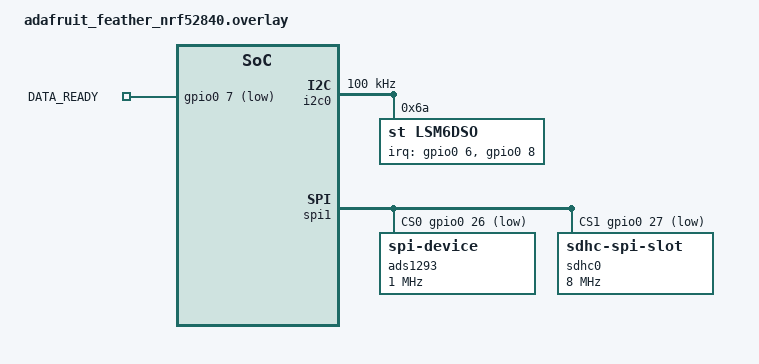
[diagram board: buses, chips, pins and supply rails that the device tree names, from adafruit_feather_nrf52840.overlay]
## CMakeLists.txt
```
#
# Copyright (c) 2018 Nordic Semiconductor
#
# SPDX-License-Identifier: LicenseRef-Nordic-5-Clause
#
cmake_minimum_required(VERSION 3.20.0)


find_package(Zephyr REQUIRED HINTS $ENV{ZEPHYR_BASE})
project(NONE)

target_link_libraries(app PUBLIC libm.a)



# Add your source files
target_sources(app PRIVATE src/main.c src/bluetooth_connection.c src/lsm6dso.c src/connexion_check.c src/sd_card_flash.c src/detect_activity.c src/ADS1293.c src/imu_trigger.c src/Queue.c src/temperatureSens.c src/batteryManagement.c)

# NORDIC SDK APP END
zephyr_library_include_directories(.)

include_directories(${ZEPHYR_BASE}/include/logging)
```

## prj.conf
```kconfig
CONFIG_NCS_SAMPLES_DEFAULTS=y

CONFIG_USE_SEGGER_RTT=y
CONFIG_CONSOLE=y
CONFIG_UART_CONSOLE=n
CONFIG_RTT_CONSOLE=y
CONFIG_LOG=y
CONFIG_LOG_BACKEND_UART=n
CONFIG_NEWLIB_LIBC_FLOAT_PRINTF=y
CONFIG_NEWLIB_LIBC=y

# following config for FATFS module
CONFIG_DISK_ACCESS=y
CONFIG_FILE_SYSTEM=y
CONFIG_FAT_FILESYSTEM_ELM=y


CONFIG_BT=y
CONFIG_BT_PERIPHERAL=y
CONFIG_BT_DEVICE_NAME="Nordic_LBS"

# Enable the LBS service
CONFIG_BT_LBS=y
CONFIG_BT_LBS_POLL_BUTTON=y
CONFIG_DK_LIBRARY=y

CONFIG_SYSTEM_WORKQUEUE_STACK_SIZE=2048
CONFIG_NEWLIB_LIBC=y

CONFIG_SENSOR=y
CONFIG_LSM6DSO=y
#Enable IMU trigger mode
CONFIG_LSM6DSO_TRIGGER_OWN_THREAD=y
#CONFIG_LSM6DSO_TRIGGER_GLOBAL_THREAD=y
CONFIG_GPIO=y

CONFIG_PRINTK=y
CONFIG_MAIN_STACK_SIZE=2048

CONFIG_DISK_DRIVER_SDMMC=y
CONFIG_SPI=y
CONFIG_SDMMC_SUBSYS=y

CONFIG_LOG=y
CONFIG_LOG_DEFAULT_LEVEL=3
CONFIG_ASSERT=y


CONFIG_PWM=y
CONFIG_LED=y
CONFIG_ADC=y
```

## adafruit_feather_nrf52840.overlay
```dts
// To get started, press Ctrl+Space to bring up the completion menu and view the available nodes.

// You can also use the buttons in the sidebar to perform actions on nodes.
// Actions currently available include:

// * Enabling / disabling the node
// * Adding the bus to a bus
// * Removing the node
// * Connecting ADC channels

// For more help, browse the DeviceTree documentation at https://docs.zephyrproject.org/latest/guides/dts/index.html
// You can also visit the nRF DeviceTree extension documentation at https://nrfconnect.github.io/vscode-nrf-connect/devicetree/nrfdevicetree.html


/{
    aliases {
        drdy = &data_ready;

    };
    gpio_keys {
        compatible = "gpio-keys";
        status = "okay";

        data_ready: data_ready {
            gpios = <&gpio0 7 GPIO_ACTIVE_LOW>;
            label = "DATA_READY";
        };

    };
};



&i2c0 {
    status = "okay";
    clock-frequency = <I2C_BITRATE_STANDARD>; // or I2C_BITRATE_FAST

    lsm6dso@6a {
        compatible = "st,lsm6dso";
        reg = <0x6a>;
        label = "LSM6DSO";
        irq-gpios = <&gpio0 6 GPIO_ACTIVE_HIGH>, <&gpio0 8 GPIO_ACTIVE_HIGH>;
    };
};

&spi1 {
    compatible = "nordic,nrf-spim";
    status = "okay";
    cs-gpios = <&gpio0 26 GPIO_ACTIVE_LOW>, <&gpio0 27 GPIO_ACTIVE_LOW>;
    ads1293@0 {
        compatible = "spi-device";
        reg = <0>;
        label = "ads1293";
        status = "okay";
        spi-max-frequency = <1000000>;
    };
    sdhc0: sdhc@1 {
        compatible = "zephyr,sdhc-spi-slot";
        reg = <1>;
        status = "okay";
        mmc {
            compatible = "zephyr,sdmmc-disk";
            status = "okay";
        };
        spi-max-frequency = <8000000>;
    };

};
  
&spi0 {
    status = "disabled";
};
```

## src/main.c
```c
/*
 * Research project 2023/2024
 */

/**************************************ZEPHYR LIB INCLUDES***********************************************/
#include <zephyr/types.h>
#include <stddef.h>
#include <string.h>
#include <errno.h>
#include <zephyr/sys/printk.h>
#include <zephyr/sys/byteorder.h>
#include <zephyr/kernel.h>
#include <zephyr/drivers/gpio.h>
#include <soc.h>
#include <zephyr/bluetooth/bluetooth.h>
#include <zephyr/bluetooth/hci.h>
#include <zephyr/bluetooth/conn.h>
#include <zephyr/bluetooth/uuid.h>
#include <zephyr/bluetooth/gatt.h>
#include <zephyr/drivers/sensor.h>
#include <math.h>
#include <stdio.h>
#include <stdbool.h>
#include <time.h>
#include <zephyr/kernel.h>
#include <zephyr/device.h>
#include <bluetooth/services/lbs.h>
#include <zephyr/settings/settings.h>
#include <dk_buttons_and_leds.h>
#include <zephyr/logging/log.h>
#include <zephyr/drivers/spi.h>  // provides access to SPI driver features
#include <zephyr/drivers/gpio.h>  // provides access to GPIO driver features
#include <hal/nrf_gpio.h>

/************************************** HEADER FILES INCLUDES ***********************************************/
#include "bluetooth_connection.h"
#include"lsm6dso.h"
#include"connexion_check.h"
#include "sd_card_flash.h"
#include"detect_activity.h"
#include"ADS1293.h"
#include"imu_trigger.h"
#include"Queue.h"
#include"temperatureSens.h"
#include "batteryManagement.h"

/************************************** THREADS SEMAPHORES ***********************************/
//Define sd-card semaphore
K_SEM_DEFINE(sd_card_sem, 1, 1); 
//Define semaphore for imu thread
K_SEM_DEFINE(imu_sem, 0, 1); 
//Define semaphore for ecg thread
K_SEM_DEFINE(ecg_sem, 0, 1); 
//Define semaphore for temperature thread
K_SEM_DEFINE(temp_sem, 0, 1); 

/************************************** DEFINE THREADS ****************************************/
K_THREAD_STACK_DEFINE(ecg_thread_stack_area, 2048);
K_THREAD_STACK_DEFINE(imu_thread_stack_area, 2048);
K_THREAD_STACK_DEFINE(temp_thread_stack_area, 2048);
struct k_thread ecg_thread_data;
struct k_thread imu_thread_data;
struct k_thread temp_thread_data;
K_MUTEX_DEFINE(sensor_data_mutex);
K_MUTEX_DEFINE(queue_data_mutex);

/************************************** GLOBALE VARIABLE  *************************************/
typedef struct {
    uint16_t channel_1_ecgVal;
    uint16_t channel_2_ecgVal;
} Ecg_values_norm;
//4232264
uint32_t offset_ecg = 4238892;
uint32_t last_interrupt_time = 0;
uint64_t last_imu_read_time = 0;
uint32_t imu_activity_buffer [4];
uint16_t temp_posture_buffer [2];
uint32_t raw_ecg_buffer[8];
uint16_t ecg_buffer[8];
Queue* imu_activity_queue = NULL; 
uint32_t body_posture;
float body_temperature;
uint32_t bodyTemp_toBe_send;
bool temperature_flag = false;
volatile bool ecg_data_sent = false;
K_MUTEX_DEFINE(ble_data_mutex);
LOG_MODULE_REGISTER(main);

// power saving for battery temp
#define POWER NRF_GPIO_PIN_MAP(0,28)
/************************************** STATIC VARIABLES **************************************/
static int lsdir(const char *path);
static FATFS fat_fs;
static int file_count = 0;
struct fs_file_t ecg_file;
struct fs_file_t imu_file;

/************************************** SD CARD MOUNTING ***************************************/
/* mounting info */
static struct fs_mount_t mp = {
	.type = FS_FATFS,
	.fs_data = &fat_fs,
};
static const char *disk_mount_pt = "/SD:";

/************************************** IMU SAMPLING FREQUENCY *********************************/
static int set_sampling_freq(const struct device *dev)
{
	int ret_gpio = 0;
	struct sensor_value odr_attr;

	/* set accel sampling frequency to 208 Hz */
	odr_attr.val1 = 208;
	odr_attr.val2 = 0;

	ret_gpio = sensor_attr_set(dev, SENSOR_CHAN_ACCEL_XYZ,
			SENSOR_ATTR_SAMPLING_FREQUENCY, &odr_attr);
	if (ret_gpio != 0) {
		printf("Cannot set sampling frequency for accelerometer.\n");
		return ret_gpio;
	}

	ret_gpio = sensor_attr_set(dev, SENSOR_CHAN_GYRO_XYZ,
			SENSOR_ATTR_SAMPLING_FREQUENCY, &odr_attr);
	if (ret_gpio != 0) {
		printf("Cannot set sampling frequency for gyro.\n");
		return ret_gpio;
	}

	return 0;
}

/************************************** SD CARD LISTDIR ************************************************/
// SD
static int lsdir(const char *path)
{
    int res;
    struct fs_dir_t dirp;
    static struct fs_dirent entry;
    int count = 0;

    fs_dir_t_init(&dirp);

    res = fs_opendir(&dirp, path);
    if (res) {
        printk("Error opening dir %s [%d]\n", path, res);
        return res;
    }

    printk("\nListing dir %s ...\n", path);
    while (1) {
        res = fs_readdir(&dirp, &entry);
        if (res || entry.name[0] == 0) {
            break;
        }

        if (entry.type != FS_DIR_ENTRY_DIR) {
            count++;
            if (count % 2 == 0) {
                file_count++;
            }
        }

        if (entry.type == FS_DIR_ENTRY_DIR) {
            printk("[DIR ] %s\n", entry.name);
        } else {
            printk("[FILE] %s (size = %zu)\n",
                entry.name, entry.size);
        }
    }

    fs_closedir(&dirp);

    return res;
}

/************************************** CALCULATE FREQUENCY  ************************************************/
double calculate_freq(uint32_t current_time)
{
	uint32_t interrupt_period;
	double frequency_hz;

	if (last_interrupt_time != 0) {
		if (current_time >= last_interrupt_time) {
			interrupt_period = current_time - last_interrupt_time;
		} else {
			// handle overflow
			interrupt_period = UINT32_MAX - last_interrupt_time + current_time;
		}

		// Convert to nanoseconds
		uint64_t interrupt_period_ns = k_cyc_to_ns_ceil64(interrupt_period);

		// Calculate frequency (Hz) = 1 / period (s)
		// The period is in nanoseconds, so we need to divide by 1e9 to convert to seconds
		double period_s = (double)interrupt_period_ns / 1e9;

		// Calculate frequency
		frequency_hz = 1.0 / period_s;

		//printf("Interrupt frequency: %.2f Hz\n", frequency_hz);
	}

	last_interrupt_time = current_time;
	return frequency_hz;

}

/************************************** ECG THREAD ************************************************/
void ecg_data_acquisition_thread(void *unused1, void *unused2, void *unused3) {
	int ecg_buffer_ind = 0;
	
    while (1) {
		
		Ecg_values_norm ecg_values_norm;
		// wait for semaphore
		k_sem_take(&ecg_sem, K_FOREVER); // the semaphore count goes down to 0

		ECG_Values ecg_values = read_ecg_values();

		ecg_values_norm.channel_1_ecgVal = ecg_values.channel_1_ecgVal - offset_ecg;
		ecg_values_norm.channel_2_ecgVal = ecg_values.channel_2_ecgVal - offset_ecg;
		///printf(", Values norm: %u, %u\n", ecg_values_norm.channel_1_ecgVal , ecg_values_norm.channel_2_ecgVal);

		//calculate frequency
		uint32_t current_time = k_cycle_get_32();
		double frequency_hz = calculate_freq(current_time);

		//fill buffer with norm. values and raw values
		ecg_buffer[ecg_buffer_ind] = ecg_values_norm.channel_1_ecgVal;
		raw_ecg_buffer[ecg_buffer_ind] = ecg_values.channel_1_ecgVal;
		ecg_buffer_ind++;
		ecg_buffer[ecg_buffer_ind] = ecg_values_norm.channel_2_ecgVal;
		raw_ecg_buffer[ecg_buffer_ind] = ecg_values.channel_2_ecgVal;
		ecg_buffer_ind = (ecg_buffer_ind+1)%8;

		// wake up IMU thread to synchronize READ DATA 
		k_sem_give(&imu_sem);

		if ( ecg_buffer_ind == 0){
			
			//BLE send ECG packet, is blocked to avoid BLE conflicts, could also work with threads flags
			k_mutex_lock(&ble_data_mutex, K_FOREVER);
		    send_ECG_Packet_Data(ecg_buffer, sizeof(ecg_buffer));
			k_mutex_unlock(&ble_data_mutex);

			//flash data to sd card
			k_sem_take(&sd_card_sem, K_FOREVER); // Take the semaphore

			flash_ecg_data_to_sd_card(&ecg_file, raw_ecg_buffer);
			k_sem_give(&sd_card_sem); // Give the semaphore
			
			// Clear the buffer
            for (int i = 0; i < 8; i++) {
                ecg_buffer[i] = 0;
            }

		}
    }
}

/************************************** IMU THREAD ************************************************/

void imu_data_acquisition_thread(void *unused1, void *unused2, void *unused3) {

	int imu_activity_buffer_ind = 0;
	uint32_t last_fetch_time = 0;
	uint32_t current_t;
    while (1) {
		
		/* Wait until semaphore is called */
        k_sem_take(&imu_sem, K_FOREVER); // the semaphore count goes down to 0
		
		//calculate the mean value of the values saved on the queue, and then dequeue the queue to liberate space

		uint32_t mean_imu_val = calculateMean(imu_activity_queue);

		imu_activity_buffer[imu_activity_buffer_ind] = mean_imu_val;
		imu_activity_buffer_ind = (imu_activity_buffer_ind+1)%4;
		
		//dequeue the queue
		k_mutex_lock(&queue_data_mutex, K_FOREVER);
		emptyQueue(imu_activity_queue);
		k_mutex_unlock(&queue_data_mutex);

		if (imu_activity_buffer_ind == 0){
		current_t= k_uptime_get();
		//read temperature value
		bodyTemp_toBe_send = body_temperature *(100); //covert float to uint32_t
			
		//fill temp_posture_buffer
		temp_posture_buffer[0] = bodyTemp_toBe_send;
		temp_posture_buffer[1] = body_posture;

		printf("Temperature = %u \n",temp_posture_buffer[0] );
		
		k_mutex_lock(&ble_data_mutex, K_FOREVER);
		send_temp_IMU_Packet_Data(imu_activity_buffer, sizeof(imu_activity_buffer));
		k_mutex_unlock(&ble_data_mutex);

		//BLE send Temperature and body-posture packet
		
		if (current_t - last_fetch_time >= 3500) //3500 is adjustable, to avoid sending 3 packet simultaneously 
		{
		k_sem_give(&temp_sem); //give semaphore to read temperature values
		send_temperatur_body_posture_Packet(temp_posture_buffer, sizeof(temp_posture_buffer));
		last_fetch_time = current_t;
     	}
	
		//write to sd card

		k_sem_take(&sd_card_sem, K_FOREVER); // Take the semaphore to write to sd card
		k_mutex_lock(&sensor_data_mutex, K_FOREVER);
		flash_imu_data_to_sd_card(&imu_file, imu_activity_buffer);
		k_mutex_unlock(&sensor_data_mutex);
		k_sem_give(&sd_card_sem); 

		// Clear the buffer
		for (int i = 0; i < 4; i++) { 
			imu_activity_buffer[i] = 0;
		}
		}
    }
}

/************************************** TEMP THREAD ************************************************/
void temp_data_acquisition_thread()
{
	while(1)
	{
		k_sem_take(&temp_sem, K_FOREVER); // the semaphore count goes down to 0
		body_temperature = get_bodyTemperature();
		nrf_gpio_pin_set(POWER);
		get_battery_info();
		nrf_gpio_pin_clear(POWER);
	}

}

/************************************** DETECT SD CARD ************************************************/
void mount_sd_card()
{
	/* sd card detected? */
	do {
		static const char *disk_pdrv = "SD";
		uint64_t memory_size_mb;
		uint32_t block_count;
		uint32_t block_size;

		if (disk_access_init(disk_pdrv) != 0) {
			LOG_ERR("Storage init ERROR!");
			break;
		}

		if (disk_access_ioctl(disk_pdrv,
				DISK_IOCTL_GET_SECTOR_COUNT, &block_count)) {
			LOG_ERR("Unable to get sector count");
			break;
		}
		LOG_INF("Block count %u", block_count);

		if (disk_access_ioctl(disk_pdrv,
				DISK_IOCTL_GET_SECTOR_SIZE, &block_size)) {
			LOG_ERR("Unable to get sector size");
			break;
		}
		printk("Sector size %u\n", block_size);

		memory_size_mb = (uint64_t)block_count * block_size;
		printk("Memory Size(MB) %u\n", (uint32_t)(memory_size_mb >> 20));
	} while (0);

	mp.mnt_point = disk_mount_pt;
	int res = fs_mount(&mp);

	if (res == FR_OK) {
		printk("Disk mounted.\n");
		lsdir(disk_mount_pt);
	} else {
		printk("Error mounting disk.\n");
	}
}

/************************************** CREAT IMU/ECG/Temp THREADS ************************************************/
void start_ecg_data_acquisition_thread(void) {
    k_thread_create(&ecg_thread_data, ecg_thread_stack_area, K_THREAD_STACK_SIZEOF(ecg_thread_stack_area), 
                    ecg_data_acquisition_thread, NULL, NULL, NULL, 1, 0, K_NO_WAIT);
}

void start_imu_data_acquisition_thread(void) {
    k_thread_create(&imu_thread_data, imu_thread_stack_area, K_THREAD_STACK_SIZEOF(imu_thread_stack_area), 
                    imu_data_acquisition_thread, NULL, NULL, NULL, 2, 0, K_NO_WAIT);
}

void start_temperature_data_acquisition_thread(void) {
    k_thread_create(&temp_thread_data, temp_thread_stack_area, K_THREAD_STACK_SIZEOF(temp_thread_stack_area), 
                    temp_data_acquisition_thread, NULL, NULL, NULL, 3, 0, K_NO_WAIT);
}

/************************************** IMU TRIGGER/POOLING MODE  ************************************************/

#ifdef CONFIG_LSM6DSO_TRIGGER
static void trigger_handler(const struct device *dev,
			    const struct sensor_trigger *trig)
{
	uint32_t mag_acc_val;
	MagAccData output_imu_sensor = fetch_and_display_IMU_val(dev);
	mag_acc_val = output_imu_sensor.mag_accelerometer;
	body_posture = output_imu_sensor.body_posture;
	k_mutex_lock(&queue_data_mutex, K_FOREVER);
    enQueue(imu_activity_queue, mag_acc_val);
	k_mutex_unlock(&queue_data_mutex);
	
}

static void test_trigger_mode(const struct device *dev)
{
	struct sensor_trigger trig;

	if (set_sampling_freq(dev) != 0)
		return;

	trig.type = SENSOR_TRIG_DATA_READY;
	trig.chan = SENSOR_CHAN_ACCEL_XYZ;

	if (sensor_trigger_set(dev, &trig, trigger_handler) != 0) {
		printf("Could not set sensor type and channel\n");
		return;
	}
}

#else
static void test_polling_mode(const struct device *dev)
{
	if (set_sampling_freq(dev) != 0) {
		return;
	}

	while (1) {
		fetch_and_display_IMU_val(dev);
		k_sleep(K_MSEC(1000));
	}
}
#endif

/************************************** IMU POOLING MODE  ************************************************/
//POOLING MODE
static void test_polling_mode(const struct device *dev)
{

	if (!device_is_ready(dev)) {
		printf("%s: device not ready.\n", dev->name);
		return;
	}
	printf("Testing LSM6DSO sensor in polling mode.\n\n");

	if (set_sampling_freq(dev) != 0) {
		return;
	}

	while (1) {
	
	uint32_t mag_acc_val;
	MagAccData output_imu_sensor = fetch_and_display_IMU_val(dev);
	mag_acc_val = output_imu_sensor.mag_accelerometer;
	k_mutex_lock(&queue_data_mutex, K_FOREVER);
    enQueue(imu_activity_queue, mag_acc_val);
	k_mutex_unlock(&queue_data_mutex);

	}
}

/************************************** ADS1293 INTERRUPT CALLBACK **********************************/
void ecg_data_callback(const struct device *dev, struct gpio_callback *cb, uint32_t pins)
{
    ads1293_interrupt = true;
	
	k_sem_give(&ecg_sem); 
}

void main(void)

{	/************************************** LOCAL VARIABLES ******************************************/
	int count_temp_sens = 0;
	/************************************** INITIALIZE IMU SENSOR  **********************************/
	//Initialize IMU sensor
	const struct device *const dev = DEVICE_DT_GET_ONE(st_lsm6dso);
	if (!device_is_ready(dev)) {
		printf("%s: device not ready.\n", dev->name);
		return;
	}
	printf("Testing LSM6DSO sensor in polling mode.\n\n");

	if (set_sampling_freq(dev) != 0) {
		return;
	}
	test_trigger_mode(dev);

	/************************************** INITIALIZE Temperatur SENSOR  ****************************/
	temp_sens_initialization();
	/************************************** SPI INIT ************************************************/
	//check SPI connexion
	ads1293_SPI_init();

	/************************************** GPIO INIT ************************************************/
	//Initialize GPIO Interrupt pin for ecg data
	GPIOinterrupt_init();

	/************************************** Battery Management Setup ******************************************/
	// setup battery management
	battery_management_initialization();
	nrf_gpio_cfg_output(POWER);

	/************************************** SD CARD MOUNTING ******************************************/
	//SD Card mounting
	mount_sd_card();

	/************************************** OPENNING IMU/ECG.CSV FILES **********************************/
	//Opening ECG file
	char *ecg_file_name = generate_file_name(file_count, "ECG");
	int ret_file_ecg;
	ret_file_ecg = fs_open(&ecg_file, ecg_file_name, FS_O_WRITE | FS_O_CREATE | FS_O_APPEND);
	if (ret_file_ecg < 0) {
		printk("Error opening ecg_file: %d\n", ret_file_ecg);
		return;
	}
	printk("succeess to open ecg_file %s\n",ecg_file_name );

	//Opening IMU file
	char *imu_file_name = generate_file_name(file_count, "IMU");
	int ret_file;
	ret_file = fs_open(&imu_file, imu_file_name, FS_O_WRITE | FS_O_CREATE | FS_O_APPEND);
	if (ret_file < 0) {
		printk("Error opening imu_file: %d\n", ret_file);
		return;
	}
	printk("succeess to open imu_file %s\n",imu_file_name );

	/************************************** CREATE IMU QUEUE ************************************************/
	imu_activity_queue = createQueue();

	/************************************** START IMU THREAD************************************************/
	//start imu thread
	start_imu_data_acquisition_thread();

	/************************************** START ECG THREAD ************************************************/
	//Start ecg thread
	start_ecg_data_acquisition_thread();

	/************************************** START TEMPERATURE THREAD ************************************************/
	//Start tempearture thread
	start_temperature_data_acquisition_thread();

	/************************************** BLUETOOTH INIT ************************************************/
	//Bluetooth connection
	Bluetooth_init();

}
```

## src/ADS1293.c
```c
#include"ADS1293.h"

//define 3 channels
uint32_t chan1_1 = 0;
uint32_t chan1_2 = 0;
uint32_t chan1_3 = 0;
uint32_t chan2_1 = 0;
uint32_t chan2_2 = 0;
uint32_t chan2_3 = 0;
//define registers
uint8_t reg21;
uint8_t reg22;
uint8_t reg23;

const struct gpio_dt_spec cs_gpio = GPIO_DT_SPEC_GET_OR(SPI1_NODE, cs_gpios, {0});
static const struct device *spi_dev = DEVICE_DT_GET(SPI1_NODE);
static const struct gpio_dt_spec drdy_gpio = GPIO_DT_SPEC_GET(DATA_READY_NODE, gpios);

struct spi_cs_control spi_cs = {
    .gpio = cs_gpio,
    .delay = 2,
};

static const struct spi_config spi_cfg = {
    .frequency = SPI_FREQ,
    .operation = SPI_WORD_SET(SPI_WORD_SIZE) | SPI_OP_MODE_MASTER,
    .slave = SPI_SLAVE,
    .cs = &spi_cs,
};


int ads1293_spi_transfer(const struct device *spi_dev, uint8_t addr, bool is_read, uint8_t data)
{
    uint8_t tx_buf[2] = { (uint8_t)((is_read ? 0x80 : 0x00) | (addr & 0x7F)), data };
    uint8_t rx_buf[2] = { 0 };

    const struct spi_buf tx_bufs[] = {
        {
            .buf = tx_buf,
            .len = sizeof(tx_buf),
        },
    };

    const struct spi_buf rx_bufs[] = {
        {
            .buf = rx_buf,
            .len = sizeof(rx_buf),
        },
    };

    const struct spi_buf_set tx = {
        .buffers = tx_bufs,
        .count = ARRAY_SIZE(tx_bufs),
    };

    const struct spi_buf_set rx = {
        .buffers = rx_bufs,
        .count = ARRAY_SIZE(rx_bufs),
    };

    int err = spi_transceive(spi_dev, &spi_cfg, &tx, &rx);
    if (err != 0) {
        return err;
    }

    return rx_buf[1];
}

int ads1293_write_register(const struct device *spi_dev, uint8_t addr, uint8_t data)
{
    return ads1293_spi_transfer(spi_dev, addr, false, data);
}

int ads1293_read_register(const struct device *spi_dev, uint8_t addr)
{
    return ads1293_spi_transfer(spi_dev, addr, true, 0x00);
}
int ads1293_init(struct device *spi_dev) {
    // Initialize ADS1293 with the provided register settings
    ads1293_write_register(spi_dev, 0x00, 0x00);// stop any conversion.
    ads1293_write_register(spi_dev, 0x01, 0x11);//Connect channel 1’s INP to IN2 and INN to IN1.
    ads1293_write_register(spi_dev, 0x02, 0x19);//Connect channel 2’s INP to IN3 and INN to IN1.
    ads1293_write_register(spi_dev, 0x0A, 0x07);//Enable the common-mode detector on input pins IN1, IN2 and IN3.
    ads1293_write_register(spi_dev, 0x0C, 0x04);// Connect the output of the RLD amplifier internally to pin IN4.
    ads1293_write_register(spi_dev, 0x12, 0x04);// Use external crystal and feed the internal oscillator's output to the digital.
    ads1293_write_register(spi_dev, 0x14, 0x24);// Shuts down unused channel 3’s signal path
    ads1293_write_register(spi_dev, 0x21, 0x08);// Configures the R2 decimation rate as 5 for all channels
    ads1293_write_register(spi_dev, 0x22, 0x20);//Configures the R3 decimation rate as 6 for channel 1.
    ads1293_write_register(spi_dev, 0x23, 0x20);// Configures the R3 decimation rate as 6 for channel 2
    ads1293_write_register(spi_dev, 0x27, 0x08);//Configures the DRDYB source to channel 1 ECG (or fastest channel)
    ads1293_write_register(spi_dev, 0x2F, 0x30);// Enables channel 1 ECG and channel 2 ECG for loop read-back mode
    ads1293_write_register(spi_dev, 0x00, 0x01);// Starts data conversion.
    return 0;
}

void get_register_val(struct device *spi_dev)
{
    // Read back from registers
    reg21 = ads1293_read_register(spi_dev, 0x21);
    reg22 = ads1293_read_register(spi_dev, 0x22);
    reg23 = ads1293_read_register(spi_dev, 0x23);
}



void ads1293_SPI_init(void){
    int ret;

    // Get the SPI device instance
    static struct device *spi_dev = DEVICE_DT_GET(SPI1_NODE);
    
    if (!spi_dev) {
        printk("Failed to get SPI device\n");
        return ;
    }

    // Initialize the ADS1293
    ret = ads1293_init(spi_dev);
    if (ret) {
        printk("Failed to initialize ADS1293\n");
        return;
    } else {
        printk("ADS1293 initialized successfully\n");
        return;
    }
}

ECG_Values read_ecg_values(void) {
    ECG_Values ecg_values;

    chan1_1 = ads1293_read_register(spi_dev, 0x37);
    chan1_2 = ads1293_read_register(spi_dev, 0x38);
    chan1_3 = ads1293_read_register(spi_dev, 0x39);
    ecg_values.channel_1_ecgVal = chan1_1;
    ecg_values.channel_1_ecgVal = (ecg_values.channel_1_ecgVal << 8) | chan1_2;
    ecg_values.channel_1_ecgVal = (ecg_values.channel_1_ecgVal << 8) | chan1_3;

    chan2_1 = ads1293_read_register(spi_dev, 0x3A);
    chan2_2 = ads1293_read_register(spi_dev, 0x3B);
    chan2_3 = ads1293_read_register(spi_dev, 0x3C);
    ecg_values.channel_2_ecgVal = chan2_1;
    ecg_values.channel_2_ecgVal = (ecg_values.channel_2_ecgVal << 8) | chan2_2;
    ecg_values.channel_2_ecgVal = (ecg_values.channel_2_ecgVal << 8) | chan2_3;


    k_sleep(K_MSEC(2));

    return ecg_values;
}


void GPIOinterrupt_init(void)
{

    const struct device *data_ready_dev;
     // Use data_ready.port directly
    data_ready_dev = drdy_gpio.port;
    static struct gpio_callback gpio_cb;

	// Initialize GPIO device and configure for interrupts
    if (!data_ready_dev) {
        printk("GPIO device not ready\n");
        return;
    }
	printk("GPIO device found\n");

	 // Configure reset button pin as input with interrupt on rising edge
    int ret = gpio_pin_configure(data_ready_dev, drdy_gpio.pin, drdy_gpio.dt_flags | GPIO_INPUT);
    if (ret) {
        printk("Failed to configure reset button pin\n");
        return;
    }
	printk("GPIO device configured \n");

	ret = gpio_pin_interrupt_configure(data_ready_dev, drdy_gpio.pin, GPIO_INT_EDGE_TO_ACTIVE);
    if (ret) {
        printk("Failed to configure data_ready interrupt\n");
        return;
    }
    printk("data_ready interrupt configured\n");

	gpio_init_callback(&gpio_cb, ecg_data_callback, BIT(drdy_gpio.pin));
	printk("INIT CALLBACK\n");
	
	ret = gpio_add_callback(data_ready_dev, &gpio_cb);
    if (ret) {
        printk("Failed to add callback\n");
    }
    printk("Callback added \n");
}
```

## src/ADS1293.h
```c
#include <zephyr/kernel.h>
#include <zephyr/drivers/spi.h>
#include <zephyr/drivers/gpio.h>        
#include <stdio.h>     

#define SPI1_NODE                   DT_NODELABEL(spi1)
#define DATA_READY_NODE 	        DT_NODELABEL(data_ready)  // Data ready node

#define SPI_FREQ 1000000
#define SPI_SLAVE 0
#define SPI_WORD_SIZE 8
static volatile bool ads1293_interrupt = false;

typedef struct {
    uint32_t channel_1_ecgVal;
    uint32_t channel_2_ecgVal;
} ECG_Values;

int ads1293_spi_transfer(const struct device *spi_dev, uint8_t addr, bool is_read, uint8_t data);
int ads1293_write_register(const struct device *spi_dev, uint8_t addr, uint8_t data);
int ads1293_read_register(const struct device *spi_dev, uint8_t addr);
int ads1293_init(struct device *spi_dev);
void ads1293_SPI_init(void);
void GPIOinterrupt_init(void);
void ecg_data_callback(const struct device *dev, struct gpio_callback *cb, uint32_t pins);
void get_register_val(struct device *spi_dev);
ECG_Values read_ecg_values(void);
```

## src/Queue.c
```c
#include <stdlib.h>
#include "Queue.h"


Queue* createQueue() {
    Queue* q = (Queue*)malloc(sizeof(Queue));
    q->front = q->rear = NULL;
    q->size = 0;
    return q;
}

static Node* newNode(uint32_t k) {
    Node* temp = (Node*)malloc(sizeof(Node));
    temp->data = k;
    temp->next = NULL;
    return temp;
}

void enQueue(Queue* q, uint32_t k) {
    Node* temp = newNode(k);
    if (q->rear == NULL) {
        q->front = q->rear = temp;
        q->size = 1;
        return;
    }
    q->rear->next = temp;
    q->rear = temp;
    q->size++;
}

uint32_t deQueue(Queue* q) {
    if (q->front == NULL)
        return UINT32_MAX;

    Node* temp = q->front;
    uint32_t item = temp->data;

    q->front = q->front->next;
    if (q->front == NULL)
        q->rear = NULL;

    free(temp);
    q->size--;

    return item;
}
void emptyQueue(Queue* q) {
    while (q->size > 1) {
        deQueue(q);
    }
    //q->size = 0;
}

uint32_t calculateMean(Queue* q) {
    if (q->size == 0)
        return 0; // return 0 if queue is empty

    Node* temp = q->front;
    uint64_t sum = 0; // using uint64_t to avoid overflow

    while (temp != NULL) {
        sum += temp->data;
        temp = temp->next;
    }

    return sum / q->size; // Division by size will floor the mean value
}
uint32_t sizeQueue(Queue* q) {
    return q->size;
}
```

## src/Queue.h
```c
#ifndef QUEUE_H
#define QUEUE_H

#include <stdint.h>

typedef struct Node {
    uint32_t data;
    struct Node* next;
} Node;

typedef struct Queue {
    Node *front, *rear;
    int size;
} Queue;

Queue* createQueue();
void enQueue(Queue* q, uint32_t k);
uint32_t deQueue(Queue* q);
uint32_t calculateMean(Queue* q);
void emptyQueue(Queue* q);
uint32_t sizeQueue(Queue* q);

#endif // QUEUE_H
```

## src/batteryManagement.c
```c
#include <zephyr/kernel.h>
#include <zephyr/device.h>
#include <zephyr/devicetree.h>
#include <zephyr/drivers/gpio.h>
#include <hal/nrf_gpio.h>
#include <zephyr/drivers/adc.h>
#include <zephyr/logging/log.h>
#include <stdio.h>

#define LED_BLUE NRF_GPIO_PIN_MAP(1,10)
#define LED_RED NRF_GPIO_PIN_MAP(1,15)



int ntc; 						// NTC-Resistor of Varta Easypack S
float batt_temp;
bool alarm, batt, temp, volt;

/************************************** BATTERY VOLTAGE MESSUREMENT ***********************************************/
#define BATT_ADC_NODE DT_NODELABEL(adc)
static const struct device *adc_dev = DEVICE_DT_GET(BATT_ADC_NODE);

#define ADC_RESOLUTION			10
#define BATT_ADC_CHANNEL		5
#define BATT_ADC_PORT			SAADC_CH_PSELP_PSELP_AnalogInput5
#define ADC_REFERENCE			ADC_REF_INTERNAL
#define ADC_GAIN				ADC_GAIN_1_6

struct adc_channel_cfg batt_chl_cfg = {
    .channel_id = BATT_ADC_CHANNEL,
    .gain = ADC_GAIN,
    .reference = ADC_REFERENCE,
#ifdef CONFIG_ADC_NRFX_SAADC
	.input_positive = BATT_ADC_PORT
#endif
};

int16_t batt_buffer[1];

const struct adc_sequence batt_sequence = {
	.channels    = BIT(BATT_ADC_CHANNEL),
	.buffer      = &batt_buffer,
	.buffer_size = sizeof(batt_buffer),
	.resolution  = ADC_RESOLUTION,
};

/************************************** BATTERY TEMPERATURE MESSUREMENT ***********************************************/
#define NTC_ADC_NODE DT_NODELABEL(adc)
static const struct device *adc_dev1 = DEVICE_DT_GET(NTC_ADC_NODE);

#define NTC_ADC_CHANNEL		0
#define NTC_ADC_PORT		SAADC_CH_PSELP_PSELP_AnalogInput0


struct adc_channel_cfg ntc_chl_cfg = {
    .channel_id = NTC_ADC_CHANNEL,
    .gain = ADC_GAIN,
    .reference = ADC_REFERENCE,
#ifdef CONFIG_ADC_NRFX_SAADC
	.input_positive = NTC_ADC_PORT
#endif
};

int16_t ntc_buffer[1];

const struct adc_sequence ntc_sequence = {
	.channels    = BIT(NTC_ADC_CHANNEL),
	.buffer      = &ntc_buffer,
	.buffer_size = sizeof(ntc_buffer),
	.resolution  = ADC_RESOLUTION,
};

void battery_management_initialization()
{
	nrf_gpio_cfg_output(LED_BLUE);
	nrf_gpio_cfg_output(LED_RED);



/******** BATTERY VOLTAGE MESSUREMENT ***************************************************/
	int err_batt;
	if (!device_is_ready(adc_dev)){
		printk("adc_dev not ready!\n");
		return;
	}

	err_batt = adc_channel_setup(adc_dev, &batt_chl_cfg);
	if (err_batt != 0) {
		printk("Setting up of the ADC channel failed with code %d", err_batt);
		return;
	}

/******* BATTERY TEMPERATURE MESSUREMENT ***********************************************/
	int err_ntc;
	if (!device_is_ready(adc_dev1)){
		printk("adc_dev not ready!\n");
		return;
	}

	err_ntc = adc_channel_setup(adc_dev1, &ntc_chl_cfg);
	if (err_ntc != 0) {
		printk("Setting up of the ADC channel failed with code %d", err_ntc);
		return;
	}
	printk("Battery initialized successful\n");
}

void get_battery_info()
{	
	int err_batt;
	int err_ntc;
	err_batt = adc_read(adc_dev, &batt_sequence);
	if (err_batt != 0) {
		printk("BatterieVoltage reading failed with code %d", err_batt);
		return;
	}

	err_ntc = adc_read(adc_dev1, &ntc_sequence);
	if (err_ntc != 0) {
		printk("Temperature reading failed with code %d", err_ntc);
		return;
	}
	int32_t mv_ntc = 0;
	int32_t mv_batt;
	int32_t adc_vref;
	int32_t adc_vref1;
	uint16_t count = 0;

	adc_vref = adc_ref_internal(adc_dev);
	adc_vref1 = adc_ref_internal(adc_dev1);


		mv_batt = batt_buffer[0];
		adc_raw_to_millivolts(adc_vref, ADC_GAIN, ADC_RESOLUTION, &mv_batt);

		mv_batt = mv_batt * 2 - 40;

		mv_ntc = ntc_buffer[0]; 
		adc_raw_to_millivolts(adc_vref1, ADC_GAIN, ADC_RESOLUTION, &mv_ntc);
	
		// nicht zwingend notwendig!!
		// if (mv_batt > 3460){
		// 	if (mv_ntc != 3260){
		// 		ntc = 40 + 750*mv_ntc/(3260-mv_ntc);
		// 	} else {
		// 		ntc = 40 + 750*mv_ntc;
		// 	}
		// 	//batt_temp = ((mv_ntc-(3260 / 1.264))/(-29.04));
		// } else{
		// 	if (mv_ntc != (mv_batt-200)){
		// 		ntc = 40 + 750*mv_ntc/((mv_batt-200)-mv_ntc);
		// 	} else {
		// 		ntc = 40 + 750*mv_ntc;
		// 	}
		// 	batt_temp = ((mv_ntc-((mv_batt-200) / 1.264))/(-29.04));
		// }

		volt = (mv_batt < 3700);
		batt = (mv_ntc < 3100);		// checking if Battery is inserted

		//if (count == 4){
			char buffer[10];
			int len = snprintf(buffer, sizeof(buffer), "%.1f", batt_temp);
			//printk("%d)", count)
			if (batt){
				// printk("Temp: %s;	mv_ntc: %d	ntc: %dOhm;	mv_batt: %d\n", buffer, mv_ntc, ntc, mv_batt);
			} else {
				printk("no Battery insert!	");
				//printk("Temp: %s;	ntv_mV: %d	ntc: %dOhm;	Volt: %d", buffer, mv_ntc, ntc, mv_batt);
				printk("\n");
			}


		temp = ((mv_ntc >= 2219 || mv_ntc <= 1261));
		alarm = ((mv_ntc > 2507 || mv_ntc < 1159 || mv_batt < 3500));




	if (!volt && !temp && !alarm){
		nrf_gpio_pin_toggle(LED_BLUE);
		k_msleep(100);
		nrf_gpio_pin_toggle(LED_BLUE);
		k_msleep(100);
		nrf_gpio_pin_toggle(LED_BLUE);
		nrf_gpio_pin_clear(LED_RED);
	} else if ((volt || temp) && !alarm){
		nrf_gpio_pin_clear(LED_BLUE);
		nrf_gpio_pin_toggle(LED_RED);
	} else if (alarm){
		nrf_gpio_pin_set(LED_RED);
		nrf_gpio_pin_clear(LED_BLUE);
	}

	nrf_gpio_pin_clear(LED_BLUE);
	if (!alarm){
		nrf_gpio_pin_clear(LED_RED);
	}

}
```

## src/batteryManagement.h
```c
#ifndef BATTERYMANAGEMENT_H
#define BATTERYMANAGEMENT_H


void battery_management_initialization();
void get_battery_info();
#endif //BATTERYMANAGEMENT_H
```

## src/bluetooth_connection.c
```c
#include "bluetooth_connection.h"
#include <zephyr/kernel.h>
#include <zephyr/device.h>
#include <bluetooth/services/lbs.h>
#include <zephyr/settings/settings.h>
#include <dk_buttons_and_leds.h>
#include <zephyr/types.h>
#include <stddef.h>
#include <string.h>
#include <errno.h>
#include <zephyr/sys/printk.h>
#include <zephyr/sys/byteorder.h>
#include <zephyr/kernel.h>
#include <zephyr/drivers/gpio.h>
#include <soc.h>

#include <zephyr/bluetooth/bluetooth.h>
#include <zephyr/bluetooth/hci.h>
#include <zephyr/bluetooth/conn.h>
#include <zephyr/bluetooth/uuid.h>
#include <zephyr/bluetooth/gatt.h>
#include <zephyr/drivers/sensor.h>
#include <math.h>
#include <stdio.h>
#include <stdbool.h>

#define RUN_STATUS_LED          		DK_LED1
#define DEVICE_NAME             CONFIG_BT_DEVICE_NAME
#define DEVICE_NAME_LEN         (sizeof(DEVICE_NAME) - 1)
static bool app_led_state = false;
static bool app_button_state;

#if defined(CONFIG_BT_LBS_SECURITY_ENABLED)
static void auth_passkey_display(struct bt_conn *conn, unsigned int passkey)
{
	char addr[BT_ADDR_LE_STR_LEN];

	bt_addr_le_to_str(bt_conn_get_dst(conn), addr, sizeof(addr));

	printk("Passkey for %s: %06u\n", addr, passkey);
}
static void auth_cancel(struct bt_conn *conn)
{
	char addr[BT_ADDR_LE_STR_LEN];

	bt_addr_le_to_str(bt_conn_get_dst(conn), addr, sizeof(addr));

	printk("Pairing cancelled: %s\n", addr);
}

void app_led_cb(bool led_state)
{
    if (app_led_state != led_state)
    {
        app_led_state = led_state;
        dk_set_led(RUN_STATUS_LED, app_led_state);
    }
}

static void pairing_failed(struct bt_conn *conn, enum bt_security_err reason)
{
	char addr[BT_ADDR_LE_STR_LEN];

	bt_addr_le_to_str(bt_conn_get_dst(conn), addr, sizeof(addr));

	printk("Pairing failed conn: %s, reason %d\n", addr, reason);
}

static void pairing_complete(struct bt_conn *conn, bool bonded)
{
	char addr[BT_ADDR_LE_STR_LEN];

	bt_addr_le_to_str(bt_conn_get_dst(conn), addr, sizeof(addr));

	printk("Pairing completed: %s, bonded: %d\n", addr, bonded);
}

static bool app_button_cb(void)
{
	return app_button_state;
}

static const struct bt_data sd[] = {
	BT_DATA_BYTES(BT_DATA_UUID128_ALL, BT_UUID_LBS_VAL),
};

static const struct bt_data ad[] = {
	BT_DATA_BYTES(BT_DATA_FLAGS, (BT_LE_AD_GENERAL | BT_LE_AD_NO_BREDR)),
	BT_DATA(BT_DATA_NAME_COMPLETE, DEVICE_NAME, DEVICE_NAME_LEN),
};
static struct bt_lbs_cb lbs_callbacs = {
	.led_cb    = app_led_cb,
	.button_cb = app_button_cb,
};

static struct bt_conn_auth_cb conn_auth_callbacks = {
	.passkey_display = auth_passkey_display,
	.cancel = auth_cancel,
};
static struct bt_conn_auth_info_cb conn_auth_info_callbacks = {
	.pairing_complete = pairing_complete,
	.pairing_failed = pairing_failed
};
#else
static struct bt_conn_auth_cb conn_auth_callbacks;
static struct bt_conn_auth_info_cb conn_auth_info_callbacks;
#endif


void Bluetooth_init(void)
{
	int err;
	printk("Starting Bluetooth Peripheral LBS example\n");
	err = dk_leds_init();
	if (err) {
		printk("LEDs init failed (err %d)\n", err);
		return;
	}

	if (IS_ENABLED(CONFIG_BT_LBS_SECURITY_ENABLED)) {
		err = bt_conn_auth_cb_register(&conn_auth_callbacks);
		if (err) {
			printk("Failed to register authorization callbacks.\n");
			return;
		}

		err = bt_conn_auth_info_cb_register(&conn_auth_info_callbacks);
		if (err) {
			printk("Failed to register authorization info callbacks.\n");
			return;
		}
	}

	err = bt_enable(NULL);
	if (err) {
		printk("Bluetooth init failed (err %d)\n", err);
		return;
	}

	printk("Bluetooth initialized\n");

	if (IS_ENABLED(CONFIG_SETTINGS)) {
		settings_load();
	}

	err = bt_lbs_init(&lbs_callbacs);
	if (err) {
		printk("Failed to init LBS (err:%d)\n", err);
		return;
	}

	err = bt_le_adv_start(BT_LE_ADV_CONN, ad, ARRAY_SIZE(ad),
			      sd, ARRAY_SIZE(sd));
	if (err) {
		printk("Advertising failed to start (err %d)\n", err);
		return;
	}

	printk("Advertising successfully started\n");
}
```

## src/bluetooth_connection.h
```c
#ifndef BLUETOOTH_CONNECTION_H
#define BLUETOOTH_CONNECTION_H

#include <zephyr/kernel.h>
#include <dk_buttons_and_leds.h>
#include <zephyr/bluetooth/bluetooth.h>
#include <bluetooth/services/lbs.h>

void Bluetooth_init(void);

#endif // BLUETOOTH_CONNECTION_H
```

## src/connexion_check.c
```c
#include "connexion_check.h"
#include <zephyr/bluetooth/bluetooth.h>
#include <zephyr/bluetooth/hci.h>
#include <zephyr/bluetooth/conn.h>
#include <zephyr/bluetooth/uuid.h>
#include <zephyr/bluetooth/gatt.h>

#include <bluetooth/services/lbs.h>

#include <zephyr/logging/log.h>
#include <math.h> 
#include <stdio.h>

#define CON_STATUS_LED                
#ifdef CONFIG_BT_LBS_SECURITY_ENABLED

static void security_changed(struct bt_conn *conn, bt_security_t level,
			     enum bt_security_err err)
{
	char addr[BT_ADDR_LE_STR_LEN];

	bt_addr_le_to_str(bt_conn_get_dst(conn), addr, sizeof(addr));

	if (!err) {
		printk("Security changed: %s level %u\n", addr, level);
	} else {
		printk("Security failed: %s level %u err %d\n", addr, level,
			err);
	}
}
#endif

BT_CONN_CB_DEFINE(conn_callbacks) = {
	.connected        = connected,
	.disconnected     = disconnected,
#ifdef CONFIG_BT_LBS_SECURITY_ENABLED
	.security_changed = security_changed,
#endif
};

void connected(struct bt_conn *conn, uint8_t err)
{
	if (err) {
		printk("Connection failed (err %u)\n", err);
		return;
	}

	printk("Connected\n");

	dk_set_led_on(CON_STATUS_LED);
}

void disconnected(struct bt_conn *conn, uint8_t reason)
{
	printk("Disconnected (reason %u)\n", reason);

	dk_set_led_off(CON_STATUS_LED);
}
```

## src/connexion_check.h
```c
#ifndef CONNEXION_CHECK_H
#define CONNEXION_CHECK_H

#include <zephyr/kernel.h>
#include <zephyr/device.h>
#include <zephyr/bluetooth/conn.h>

void connected(struct bt_conn *conn, uint8_t err);
void disconnected(struct bt_conn *conn, uint8_t reason);

#endif // CONNEXION_CHECK_H
```

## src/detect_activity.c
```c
#include "detect_activity.h"
#include<stdio.h>
#include<string.h>
#include <stdlib.h>
#include <math.h>
#include <complex.h>
#include <stddef.h>
#include <stdbool.h>

#define PI 3.14159265358979323846

void apply_low_pass_filter(const float *data_buffer, float* filtered_data_after_lowpass, size_t data_size, float cutoff_freq, float sampling_freq) 
{
    // Calculate the filter coefficient (alpha) for a first-order IIR low-pass filter
    float dt = 1.0f / sampling_freq;
    float rc = 1.0f / (2 * PI * cutoff_freq);
    float alpha = dt / (rc + dt);


    for (uint32_t i = 0; i < data_size; i++) {
        filtered_data_after_lowpass[i] = alpha * data_buffer[i] + (1.0f - alpha) * filtered_data_after_lowpass[i - 1];
    }

}

void apply_avg_filter(const float *data_buffer, float* filtered_data_after_avg_filter, size_t data_size, uint32_t window_size)
{
    float sum = 0;

    for (uint32_t i = 0; i < data_size; i++) {
        if (i >= window_size) {
            sum -= data_buffer[i - window_size];
        }
        sum += data_buffer[i];
        filtered_data_after_avg_filter[i] = sum / (i < window_size ? i + 1 : window_size);
    }
}

size_t count_peaks(const float *data_buffer, size_t data_size, float threshold)
{
    size_t peak_count = 0;
    
    for (size_t i = 1; i < data_size - 1; i++) {
        bool is_peak = (data_buffer[i] > data_buffer[i - 1]) && (data_buffer[i] > data_buffer[i + 1]);
        if (is_peak && data_buffer[i] > threshold) {
            peak_count++;
        }
    }

    return peak_count;
}

const char* detect_activity(const float *data_buffer, size_t data_size)
{
    const size_t buffer_size = 50;
    const float peak_threshold = 8.0;
    const size_t high_activity_count = 5;

    if (data_size < buffer_size) {
        return "Error: Insufficient data";
    }

    size_t peak_count = count_peaks(data_buffer, buffer_size, peak_threshold);

    return peak_count > high_activity_count ? "High activity" : "Low activity";
}
```

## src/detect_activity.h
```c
#ifndef DETECT_ACTIVITY_H
#define DETECT_ACTIVITY_H
#include<stdio.h>
#include<string.h>

void apply_avg_filter(const float *data_buffer, float* filtered_data_after_avg_filter, size_t data_size, uint32_t window_size);
void apply_low_pass_filter(const float *data_buffer, float* filtered_data_after_lowpass, size_t data_size, float cutoff_freq, float sampling_freq);
size_t count_peaks(const float *data_buffer, size_t data_size, float threshold);
const char* detect_activity(const float *data_buffer, size_t data_size);

#endif
```
